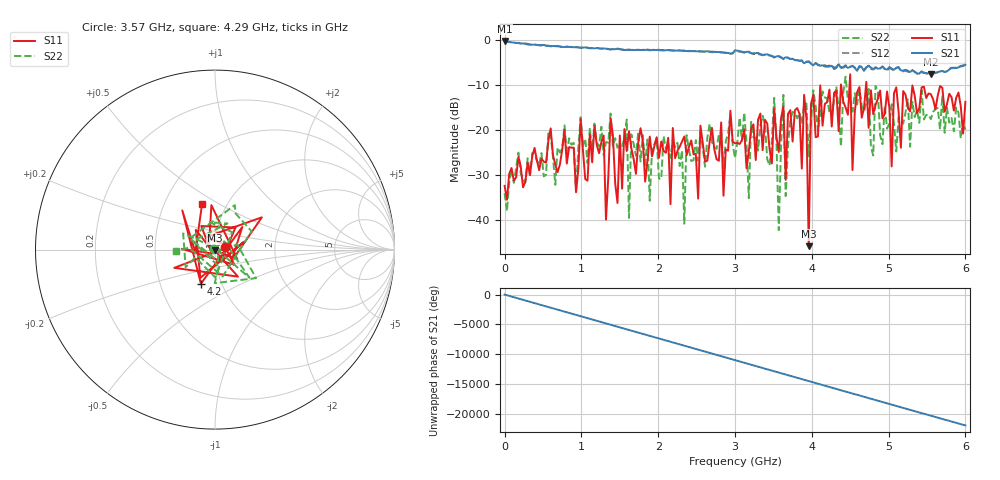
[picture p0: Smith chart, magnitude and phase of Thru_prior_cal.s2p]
#  HZ  S  DB  R  50.0
! Rohde & Schwarz ZVL13 2Ports - Version 3.20 - 1303.6509k13 SN: 100953
! Date: 2024-10-21 06:13:24
! Data & Calibration Information:
! Trc1:S11(Cal Off) Trc4:S21(Cal Off) Trc2:S12(Cal Off) Trc3:S22(Cal Off)
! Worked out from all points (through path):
!   201 points, 5 kHz to 6 GHz, reference 50 ohm
!   highest |S21| = -0.12 dB at 5 kHz (marker M1); lowest = -7.5 dB at 5.55 GHz (marker M2)
!   lowest |S11| = -45.7 dB at 3.96 GHz (marker M3), VSWR 1.01, Z = 49.9 - j0.498 ohm
!   |S11| at or under -10 dB: start of sweep to 4.11 GHz; 4.712 GHz to 5.31 GHz (597.6 MHz wide, 11.9 % of centre); 5.31 GHz to end of sweep (the widest 3 of 6)
!   |S22| runs from -42.2 to -8.1 dB; largest |S21 - S12| = 0.035
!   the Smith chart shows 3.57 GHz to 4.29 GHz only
!   S11 on the Smith chart (normalised r, x): 3.57 GHz: 1.12, +0.03; 4.2 GHz: 0.80, -0.32; 4.29 GHz: 0.77, +0.41
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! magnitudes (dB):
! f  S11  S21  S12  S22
! 5 kHz  -32.3  -0.1  0.0  -34.0
! 1.02 GHz  -24.4  -1.6  -1.6  -23.5
! 1.32 GHz  -39.9  -1.8  -1.8  -22.6
! 1.38 GHz  -17.3  -2.0  -2.0  -16.2
! 1.62 GHz  -20.2  -2.0  -2.1  -39.5
! 2.01 GHz  -26.1  -2.2  -2.1  -30.7
! 3 GHz  -22.8  -2.2  -2.2  -26.2
! 3.51 GHz  -15.1  -3.8  -3.7  -12.8
! 3.57 GHz  -24.8  -3.5  -3.6  -42.2
! 3.63 GHz  -14.7  -4.1  -4.2  -12.1
! 3.66 GHz  -31.0  -3.7  -3.7  -34.6
! 3.9 GHz  -12.1  -5.1  -4.9  -14.4
! 3.96 GHz  -45.7  -4.7  -4.6  -25.7
! 4.02 GHz  -12.1  -5.5  -5.4  -11.1
! 4.2 GHz  -13.7  -5.8  -5.7  -12.8
! 4.29 GHz  -11.6  -6.3  -6.0  -13.3
! 4.5 GHz  -7.5  -5.9  -5.9  -13.5
! 4.53 GHz  -28.8  -5.6  -5.7  -15.9
! 4.62 GHz  -10.4  -5.8  -5.7  -10.8
! 5.01 GHz  -14.9  -5.9  -6.2  -18.4
! 5.55 GHz  -11.9  -7.5  -7.6  -17.5
! 6 GHz  -13.7  -5.4  -5.4  -19.8
